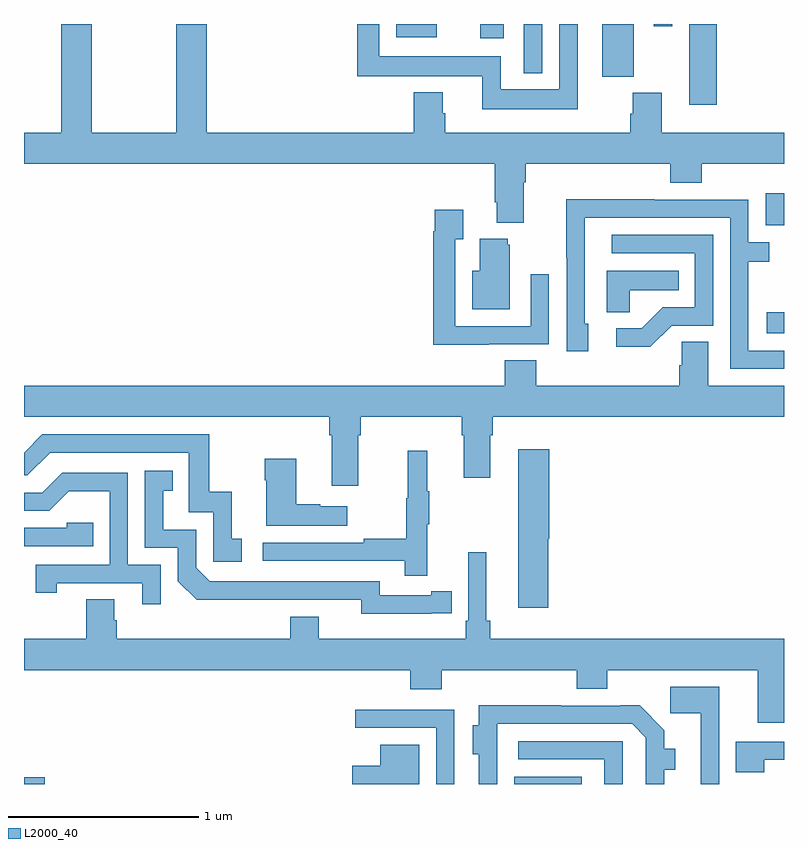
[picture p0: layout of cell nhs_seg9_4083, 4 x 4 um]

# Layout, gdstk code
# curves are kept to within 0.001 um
import gdstk
lib = gdstk.Library(unit=1e-6, precision=1e-09)
def R(c, l, rs):  # rectangles x0, y0, x1, y1
    for r in rs: c.add(gdstk.rectangle(r[:2], r[2:], *l))
def P(c, l, *ps):  # polygons
    for p in ps: c.add(gdstk.Polygon(p, *l))
L2000_40 = (2000, 40)

nhs_seg9_4083 = lib.new_cell('nhs_seg9_4083')
R(nhs_seg9_4083, L2000_40, [(345,1182.5,345.109,1182.535), (347.579,1182.5,347.935,1182.538), (348.909,1184.873,349,1184.983), (348.903,1185.441,349,1185.61), (348.044,1186.222,348.208,1186.5), (347.631,1186.241,347.727,1186.5), (347.402,1186.425,347.524,1186.5), (346.958,1186.43,347.173,1186.5), (348.315,1186.488,348.411,1186.5)])
P(nhs_seg9_4083, L2000_40, [(347.629,1185.668),(347.642,1185.668),(347.642,1185.764),(348.401,1185.764),(348.401,1185.665),(348.566,1185.665),(348.566,1185.764),(349,1185.764),(349,1185.928),(348.356,1185.928),(348.356,1186.137),(348.203,1186.137),(348.203,1186.028),(348.191,1186.028),(348.191,1185.928),(347.216,1185.928),(347.216,1186.029),(347.203,1186.029),(347.203,1186.141),(347.051,1186.141),(347.051,1185.928),(345.962,1185.928),(345.962,1186.5),(345.802,1186.5),(345.802,1185.928),(345.357,1185.928),(345.357,1186.5),(345.197,1186.5),(345.197,1185.928),(345,1185.928),(345,1185.764),(347.477,1185.764),(347.477,1185.562),(347.489,1185.562),(347.489,1185.455),(347.629,1185.455)],
  [(347.914,1186.5),(347.817,1186.5),(347.817,1186.156),(347.508,1186.156),(347.508,1186.33),(346.869,1186.33),(346.869,1186.5),(346.753,1186.5),(346.753,1186.224),(346.876,1186.224),(346.876,1186.226),(347.411,1186.226),(347.411,1186.052),(347.914,1186.052)],
  [(348.647,1186.498),(348.617,1186.498),(348.617,1186.5),(348.501,1186.5),(348.501,1186.394),(348.5,1186.394),(348.5,1186.074),(348.647,1186.074)],
  [(349,1184.781),(348.813,1184.781),(348.813,1185.25),(348.923,1185.25),(348.923,1185.351),(348.813,1185.351),(348.813,1185.576),(348.317,1185.576),(348.317,1185.578),(347.854,1185.578),(347.854,1185.271),(347.856,1185.271),(347.856,1184.778),(347.971,1184.778),(347.971,1184.922),(347.952,1184.922),(347.952,1185.48),(348.717,1185.48),(348.717,1184.685),(349,1184.685)],
  [(347.447,1184.814),(347.763,1184.814),(347.763,1185.184),(347.667,1185.184),(347.667,1184.91),(347.271,1184.91),(347.271,1185.367),(347.311,1185.367),(347.311,1185.523),(347.163,1185.523),(347.163,1185.41),(347.155,1185.41),(347.155,1184.813),(347.447,1184.813)],
  [(348.408,1184.913),(348.627,1184.913),(348.627,1185.39),(348.093,1185.39),(348.093,1185.294),(348.531,1185.294),(348.531,1185.009),(348.362,1185.009),(348.251,1184.898),(348.117,1184.898),(348.117,1184.801),(348.295,1184.801)],
  [(347.557,1185.339),(347.546,1185.339),(347.546,1185.37),(347.399,1185.37),(347.399,1185.202),(347.36,1185.202),(347.36,1184.999),(347.557,1184.999)],
  [(348.189,1185.098),(348.446,1185.098),(348.446,1185.202),(348.068,1185.202),(348.068,1184.983),(348.189,1184.983)],
  [(346.759,1184.336),(346.772,1184.336),(346.772,1184.432),(347.303,1184.432),(347.303,1184.336),(347.315,1184.336),(347.315,1184.112),(347.455,1184.112),(347.455,1184.336),(347.468,1184.336),(347.468,1184.432),(349,1184.432),(349,1184.596),(348.601,1184.596),(348.601,1184.828),(348.462,1184.828),(348.462,1184.705),(348.449,1184.705),(348.449,1184.596),(347.696,1184.596),(347.696,1184.729),(347.531,1184.729),(347.531,1184.596),(345,1184.596),(345,1184.432),(346.607,1184.432),(346.607,1184.336),(346.619,1184.336),(346.619,1184.07),(346.759,1184.07)],
  [(346.147,1183.791),(346.094,1183.791),(346.094,1184.038),(345.976,1184.038),(345.976,1184.34),(345.096,1184.34),(345,1184.244),(345,1184.124),(345.018,1184.124),(345.138,1184.244),(345.867,1184.244),(345.867,1183.929),(345.996,1183.929),(345.996,1183.671),(346.147,1183.671)],
  [(347.759,1183.791),(347.764,1183.791),(347.764,1184.263),(347.6,1184.263),(347.6,1183.428),(347.759,1183.428)],
  [(347.123,1183.867),(347.134,1183.867),(347.134,1184.041),(347.123,1184.041),(347.123,1184.254),(347.02,1184.254),(347.02,1184.004),(347.013,1184.004),(347.013,1183.79),(346.789,1183.79),(346.789,1183.77),(346.257,1183.77),(346.257,1183.674),(347.005,1183.674),(347.005,1183.596),(347.123,1183.596)],
  [(346.702,1183.963),(346.559,1183.963),(346.559,1183.973),(346.432,1183.973),(346.432,1184.212),(346.267,1184.212),(346.267,1184.099),(346.274,1184.099),(346.274,1183.859),(346.702,1183.859)],
  [(347.144,1183.398),(347.252,1183.398),(347.252,1183.514),(347.144,1183.514),(347.144,1183.494),(346.872,1183.494),(346.872,1183.566),(345.978,1183.566),(345.906,1183.638),(345.906,1183.839),(345.733,1183.839),(345.733,1184.043),(345.782,1184.043),(345.782,1184.149),(345.636,1184.149),(345.636,1183.743),(345.81,1183.743),(345.81,1183.566),(345.908,1183.469),(346.776,1183.47),(346.776,1183.397)],
  [(345.72,1183.653),(345.546,1183.653),(345.546,1184.139),(345.2,1184.139),(345.095,1184.034),(345,1184.034),(345,1183.938),(345.132,1183.938),(345.236,1184.042),(345.45,1184.042),(345.45,1183.653),(345.061,1183.653),(345.061,1183.506),(345.172,1183.506),(345.172,1183.557),(345.623,1183.557),(345.623,1183.446),(345.72,1183.446)],
  [(345.365,1183.875),(345.225,1183.875),(345.225,1183.848),(345,1183.848),(345,1183.752),(345.365,1183.752)],
  [(347.453,1183.36),(347.434,1183.36),(347.434,1183.72),(347.337,1183.72),(347.337,1183.36),(347.324,1183.36),(347.324,1183.264),(346.552,1183.264),(346.552,1183.381),(346.4,1183.381),(346.4,1183.264),(345.488,1183.264),(345.488,1183.362),(345.475,1183.362),(345.475,1183.472),(345.328,1183.472),(345.328,1183.264),(345,1183.264),(345,1183.1),(347.033,1183.1),(347.033,1182.998),(347.198,1182.998),(347.198,1183.1),(347.909,1183.1),(347.909,1183.001),(348.069,1183.001),(348.069,1183.1),(348.863,1183.1),(348.863,1182.822),(349,1182.822),(349,1183.264),(347.453,1183.264)],
  [(348.66,1183.012),(348.402,1183.012),(348.402,1182.873),(348.563,1182.873),(348.563,1182.5),(348.66,1182.5)],
  [(347.49,1182.816),(348.201,1182.816),(348.273,1182.744),(348.273,1182.5),(348.37,1182.5),(348.37,1182.576),(348.427,1182.576),(348.427,1182.686),(348.371,1182.686),(348.371,1182.784),(348.241,1182.914),(348.14,1182.914),(348.14,1182.912),(347.825,1182.912),(347.825,1182.914),(347.394,1182.914),(347.394,1182.808),(347.363,1182.808),(347.363,1182.656),(347.394,1182.656),(347.394,1182.5),(347.49,1182.5)],
  [(347.265,1182.891),(346.743,1182.891),(346.743,1182.795),(347.169,1182.795),(347.169,1182.5),(347.265,1182.5)],
  [(348.15,1182.726),(347.601,1182.726),(347.601,1182.63),(348.054,1182.63),(348.054,1182.5),(348.15,1182.5)],
  [(348.897,1182.627),(349,1182.627),(349,1182.723),(348.745,1182.723),(348.745,1182.562),(348.897,1182.562)],
  [(347.08,1182.706),(346.874,1182.706),(346.874,1182.595),(346.728,1182.595),(346.728,1182.5),(347.08,1182.5)])

lib.write_gds('nhs_seg9_4083.gds')
